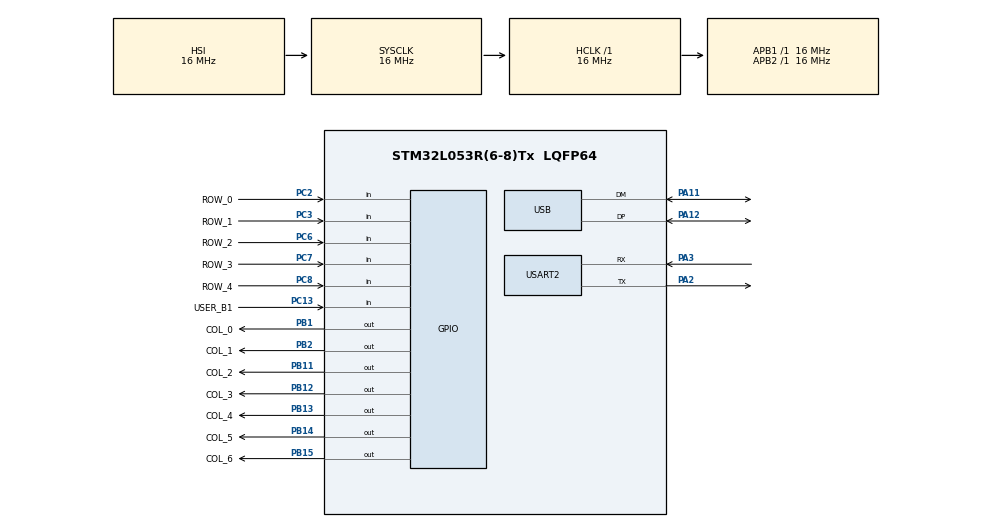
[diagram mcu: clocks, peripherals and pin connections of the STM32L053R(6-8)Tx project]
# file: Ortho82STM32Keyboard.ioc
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Mcu.Family=STM32L0
Mcu.Name=STM32L053R(6-8)Tx
Mcu.Package=LQFP64
NVIC.USB_IRQn=true\:0\:0\:false\:false\:true\:false\:true\:true
PA11.Mode=Device
PA11.Signal=USB_DM
PA12.Mode=Device
PA12.Signal=USB_DP
PA2.Mode=Asynchronous
PA2.Signal=USART2_TX
PA3.Mode=Asynchronous
PA3.Signal=USART2_RX
PB1.GPIO_Label=COL_0
PB1.GPIO_ModeDefaultOutputPP=GPIO_MODE_OUTPUT_PP
PB1.GPIO_PuPd=GPIO_PULLUP
PB1.GPIO_Speed=GPIO_SPEED_FREQ_MEDIUM
PB1.PinState=GPIO_PIN_SET
PB1.Signal=GPIO_Output
PB11.GPIO_Label=COL_2
PB11.GPIO_ModeDefaultOutputPP=GPIO_MODE_OUTPUT_PP
PB11.GPIO_PuPd=GPIO_PULLUP
PB11.GPIO_Speed=GPIO_SPEED_FREQ_MEDIUM
PB11.PinState=GPIO_PIN_SET
PB11.Signal=GPIO_Output
PB12.GPIO_Label=COL_3
PB12.GPIO_ModeDefaultOutputPP=GPIO_MODE_OUTPUT_PP
PB12.GPIO_PuPd=GPIO_PULLUP
PB12.GPIO_Speed=GPIO_SPEED_FREQ_MEDIUM
PB12.PinState=GPIO_PIN_SET
PB12.Signal=GPIO_Output
PB13.GPIO_Label=COL_4
PB13.GPIO_ModeDefaultOutputPP=GPIO_MODE_OUTPUT_PP
PB13.GPIO_PuPd=GPIO_PULLUP
PB13.GPIO_Speed=GPIO_SPEED_FREQ_MEDIUM
PB13.PinState=GPIO_PIN_SET
PB13.Signal=GPIO_Output
PB14.GPIO_Label=COL_5
PB14.GPIO_ModeDefaultOutputPP=GPIO_MODE_OUTPUT_PP
PB14.GPIO_PuPd=GPIO_PULLUP
PB14.GPIO_Speed=GPIO_SPEED_FREQ_MEDIUM
PB14.PinState=GPIO_PIN_SET
PB14.Signal=GPIO_Output
PB15.GPIO_Label=COL_6
PB15.GPIO_ModeDefaultOutputPP=GPIO_MODE_OUTPUT_PP
PB15.GPIO_PuPd=GPIO_PULLUP
PB15.GPIO_Speed=GPIO_SPEED_FREQ_MEDIUM
PB15.PinState=GPIO_PIN_SET
PB15.Signal=GPIO_Output
PB2.GPIO_Label=COL_1
PB2.GPIO_ModeDefaultOutputPP=GPIO_MODE_OUTPUT_PP
PB2.GPIO_PuPd=GPIO_PULLUP
PB2.GPIO_Speed=GPIO_SPEED_FREQ_MEDIUM
PB2.PinState=GPIO_PIN_SET
PB2.Signal=GPIO_Output
PC13.GPIO_Label=USER_B1
PC13.GPIO_PuPd=GPIO_PULLDOWN
PC13.Signal=GPIO_Input
PC2.GPIO_Label=ROW_0
PC2.GPIO_Mode=GPIO_MODE_INPUT
PC2.GPIO_PuPd=GPIO_PULLDOWN
PC2.Signal=GPIO_Input
PC3.GPIO_Label=ROW_1
PC3.GPIO_Mode=GPIO_MODE_INPUT
PC3.GPIO_PuPd=GPIO_PULLDOWN
PC3.Signal=GPIO_Input
PC6.GPIO_Label=ROW_2
PC6.GPIO_Mode=GPIO_MODE_INPUT
PC6.GPIO_PuPd=GPIO_PULLDOWN
PC6.Signal=GPIO_Input
PC7.GPIO_Label=ROW_3
PC7.GPIO_Mode=GPIO_MODE_INPUT
PC7.GPIO_PuPd=GPIO_PULLDOWN
PC7.Signal=GPIO_Input
PC8.GPIO_Label=ROW_4
PC8.GPIO_Mode=GPIO_MODE_INPUT
PC8.GPIO_PuPd=GPIO_PULLDOWN
PC8.Signal=GPIO_Input
ProjectManager.HeapSize=0x200
ProjectManager.StackSize=0x400
ProjectManager.TargetToolchain=STM32CubeIDE
RCC.AHBFreq_Value=16000000
RCC.APB1Freq_Value=16000000
RCC.APB1TimFreq_Value=16000000
RCC.APB2Freq_Value=16000000
RCC.APB2TimFreq_Value=16000000
RCC.HCLKFreq_Value=16000000
RCC.HSE_VALUE=8000000
RCC.HSI16_VALUE=16000000
RCC.HSI48MClockSelection=RCC_USBCLKSOURCE_HSI48
RCC.HSI48_VALUE=48000000
RCC.HSI_VALUE=16000000
RCC.LSE_VALUE=32768
RCC.MSI_VALUE=2097000
RCC.SYSCLKFreq_VALUE=16000000
RCC.SYSCLKSource=RCC_SYSCLKSOURCE_HSI
RCC.VCOOutputFreq_Value=48000000
USART2.VirtualMode-Asynchronous=VM_ASYNC
USB_DEVICE.CLASS_NAME_FS=CUSTOM_HID
USB_DEVICE.CONFIGURATION_STRING_CUSTOMHID_FS=Custom Mechanical Keyboard
USB_DEVICE.CUSTOM_HID_FS_BINTERVAL=0x0A
USB_DEVICE.INTERFACE_STRING_CUSTOMHID_FS=USB Keyboard
USB_DEVICE.PID_CUSTOMHID_FS=22352
USB_DEVICE.PRODUCT_STRING_CUSTOMHID_FS=Ortho82 Keyboard
USB_DEVICE.USBD_CUSTOMHID_OUTREPORT_BUF_SIZE=8
USB_DEVICE.USBD_CUSTOM_HID_REPORT_DESC_SIZE=63
USB_DEVICE.VirtualMode=CustomHid
USB_DEVICE.VirtualModeFS=Custom_Hid_FS
VP_USB_DEVICE_VS_USB_DEVICE_CUSTOM_HID_FS.Mode=CUSTOM_HID_FS
board=custom

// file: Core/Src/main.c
/* USER CODE BEGIN Header */
/**
  ******************************************************************************
  * @file           : main.c
  * @brief          : Main program body
  ******************************************************************************
  * @attention
  *
  * Copyright (c) 2023 STMicroelectronics.
  * All rights reserved.
  *
  * This software is licensed under terms that can be found in the LICENSE file
  * in the root directory of this software component.
  * If no LICENSE file comes with this software, it is provided AS-IS.
  *
  ******************************************************************************
  */
/* USER CODE END Header */
#include "main.h"
#include "usb_device.h"

/* USER CODE BEGIN Includes */
#include "usbd_custom_hid_if.h"
#include "hid_keyboard.h"
/* USER CODE END Includes */

/* USER CODE BEGIN PD */
#define COL_GPIO_PORT	GPIOC
/* USER CODE END PD */

UART_HandleTypeDef huart2;

void SystemClock_Config(void);
static void MX_GPIO_Init(void);
static void MX_USART2_UART_Init(void);
/* USER CODE BEGIN PFP */
int __io_putchar(int ch)
{
	HAL_UART_Transmit(&huart2, (uint8_t *)&ch, 1, HAL_MAX_DELAY);
	return ch;
}
/* USER CODE END PFP */

/* USER CODE BEGIN 0 */
extern USBD_HandleTypeDef hUsbDeviceFS;
uint8_t HID_report[USBD_CUSTOMHID_OUTREPORT_BUF_SIZE] = {0};
/* USER CODE END 0 */

int main(void)
{

  /* MCU Configuration--------------------------------------------------------*/

  /* Reset of all peripherals, Initializes the Flash interface and the Systick. */
  HAL_Init();

  /* Configure the system clock */
  SystemClock_Config();

  /* Initialize all configured peripherals */
  MX_GPIO_Init();
  MX_USB_DEVICE_Init();
  MX_USART2_UART_Init();
  /* USER CODE BEGIN 2 */

  printf("STM32 Cube is Great!");
  uint_fast8_t state = 0;
  uint_fast8_t rows[5] = {0,0,0,0,0};
  uint8_t modifier=0, key=0;
  /* USER CODE END 2 */

  /* Infinite loop */
  while (1)
  {

    /* USER CODE BEGIN 3 */
	  // 0b0111_1100_0000_0110
	  COL_GPIO_PORT->BSRR = 0b0111110000000110;
	  HAL_Delay(40);
	  if (!HAL_GPIO_ReadPin(USER_B1_GPIO_Port, USER_B1_Pin)) {
		  state += 1;
	  }
	  if (state > 2) {
		  printf("Working!\n");
		  state = 0;
	  }
	  // 0b0000_0001_1100_1100
	  // GPIOC->IDR & 0b0000000111001100;
	  if (HAL_GPIO_ReadPin(ROW_0_GPIO_Port, ROW_0_Pin)) {
		  rows[0] += 1;
		  modifier = MOD_LEFT_ALT;
	  }
	  if (HAL_GPIO_ReadPin(ROW_0_GPIO_Port, ROW_1_Pin)) {
		  rows[1] += 1;
		  modifier = MOD_LEFT_SHIFT;
	  }
	  if (HAL_GPIO_ReadPin(ROW_0_GPIO_Port, ROW_2_Pin)) {
		  rows[2] += 1;
		  modifier = MOD_LEFT_CTRL;
	  }
	  if (HAL_GPIO_ReadPin(ROW_0_GPIO_Port, ROW_3_Pin)) {
		  rows[3] += 1;
		  modifier = MOD_LEFT_GUI;
	  }
	  if (HAL_GPIO_ReadPin(ROW_0_GPIO_Port, ROW_4_Pin)) {
		  rows[4] += 1;
		  modifier = MOD_LEFT_GUI;
		  key = K_E;
	  }
	  if ((GPIOC->IDR & 0b0000000111001100) == 0) {
		  modifier = 0;
		  key = 0;
	  }

//	  for (int i = 0; i < 5; ++i) {
//		  if (rows[i] > 2) {
//			printf("Row: %d\n", i);
//			rows[i] = 0;
//		}
//	  }

	  if (modifier || key) {
		  HID_report[0] = modifier;
		  HID_report[2] = key;
		  USBD_CUSTOM_HID_SendReport(&hUsbDeviceFS, HID_report, USBD_CUSTOMHID_OUTREPORT_BUF_SIZE);
		  HAL_Delay(20);
	  } else {
		  for (uint8_t i = 0; i < 8; ++i) {
			  HID_report[i] = 0;
		  }
		  USBD_CUSTOM_HID_SendReport(&hUsbDeviceFS, HID_report, USBD_CUSTOMHID_OUTREPORT_BUF_SIZE);
	  }

  }
  /* USER CODE END 3 */
}

void SystemClock_Config(void)
{
  RCC_OscInitTypeDef RCC_OscInitStruct = {0};
  RCC_ClkInitTypeDef RCC_ClkInitStruct = {0};
  RCC_PeriphCLKInitTypeDef PeriphClkInit = {0};

  /** Configure the main internal regulator output voltage
  */
  __HAL_PWR_VOLTAGESCALING_CONFIG(PWR_REGULATOR_VOLTAGE_SCALE1);

  /** Initializes the RCC Oscillators according to the specified parameters
  * in the RCC_OscInitTypeDef structure.
  */
  RCC_OscInitStruct.OscillatorType = RCC_OSCILLATORTYPE_HSI|RCC_OSCILLATORTYPE_HSI48;
  RCC_OscInitStruct.HSIState = RCC_HSI_ON;
  RCC_OscInitStruct.HSICalibrationValue = RCC_HSICALIBRATION_DEFAULT;
  RCC_OscInitStruct.HSI48State = RCC_HSI48_ON;
  RCC_OscInitStruct.PLL.PLLState = RCC_PLL_NONE;
  if (HAL_RCC_OscConfig(&RCC_OscInitStruct) != HAL_OK)
  {
    Error_Handler();
  }

  /** Initializes the CPU, AHB and APB buses clocks
  */
  RCC_ClkInitStruct.ClockType = RCC_CLOCKTYPE_HCLK|RCC_CLOCKTYPE_SYSCLK
                              |RCC_CLOCKTYPE_PCLK1|RCC_CLOCKTYPE_PCLK2;
  RCC_ClkInitStruct.SYSCLKSource = RCC_SYSCLKSOURCE_HSI;
  RCC_ClkInitStruct.AHBCLKDivider = RCC_SYSCLK_DIV1;
  RCC_ClkInitStruct.APB1CLKDivider = RCC_HCLK_DIV1;
  RCC_ClkInitStruct.APB2CLKDivider = RCC_HCLK_DIV1;

  if (HAL_RCC_ClockConfig(&RCC_ClkInitStruct, FLASH_LATENCY_0) != HAL_OK)
  {
    Error_Handler();
  }
  PeriphClkInit.PeriphClockSelection = RCC_PERIPHCLK_USART2|RCC_PERIPHCLK_USB;
  PeriphClkInit.Usart2ClockSelection = RCC_USART2CLKSOURCE_PCLK1;
  PeriphClkInit.UsbClockSelection = RCC_USBCLKSOURCE_HSI48;
  if (HAL_RCCEx_PeriphCLKConfig(&PeriphClkInit) != HAL_OK)
  {
    Error_Handler();
  }
}

static void MX_USART2_UART_Init(void)
{

  huart2.Instance = USART2;
  huart2.Init.BaudRate = 115200;
  huart2.Init.WordLength = UART_WORDLENGTH_8B;
  huart2.Init.StopBits = UART_STOPBITS_1;
  huart2.Init.Parity = UART_PARITY_NONE;
  huart2.Init.Mode = UART_MODE_TX_RX;
  huart2.Init.HwFlowCtl = UART_HWCONTROL_NONE;
  huart2.Init.OverSampling = UART_OVERSAMPLING_16;
  huart2.Init.OneBitSampling = UART_ONE_BIT_SAMPLE_DISABLE;
  huart2.AdvancedInit.AdvFeatureInit = UART_ADVFEATURE_NO_INIT;
  if (HAL_UART_Init(&huart2) != HAL_OK)
  {
    Error_Handler();
  }

}

static void MX_GPIO_Init(void)
{
  GPIO_InitTypeDef GPIO_InitStruct = {0};

  /* GPIO Ports Clock Enable */
  __HAL_RCC_GPIOC_CLK_ENABLE();
  __HAL_RCC_GPIOA_CLK_ENABLE();
  __HAL_RCC_GPIOB_CLK_ENABLE();

  /*Configure GPIO pin Output Level */
  HAL_GPIO_WritePin(GPIOB, COL_0_Pin|COL_1_Pin|COL_2_Pin|COL_3_Pin
                          |COL_4_Pin|COL_5_Pin|COL_6_Pin, GPIO_PIN_SET);

  /*Configure GPIO pins : USER_B1_Pin ROW_0_Pin ROW_1_Pin ROW_2_Pin
                           ROW_3_Pin ROW_4_Pin */
  GPIO_InitStruct.Pin = USER_B1_Pin|ROW_0_Pin|ROW_1_Pin|ROW_2_Pin
                          |ROW_3_Pin|ROW_4_Pin;
  GPIO_InitStruct.Mode = GPIO_MODE_INPUT;
  GPIO_InitStruct.Pull = GPIO_PULLDOWN;
  HAL_GPIO_Init(GPIOC, &GPIO_InitStruct);

  /*Configure GPIO pins : COL_0_Pin COL_1_Pin COL_2_Pin COL_3_Pin
                           COL_4_Pin COL_5_Pin COL_6_Pin */
  GPIO_InitStruct.Pin = COL_0_Pin|COL_1_Pin|COL_2_Pin|COL_3_Pin
                          |COL_4_Pin|COL_5_Pin|COL_6_Pin;
  GPIO_InitStruct.Mode = GPIO_MODE_OUTPUT_PP;
  GPIO_InitStruct.Pull = GPIO_PULLUP;
  GPIO_InitStruct.Speed = GPIO_SPEED_FREQ_MEDIUM;
  HAL_GPIO_Init(GPIOB, &GPIO_InitStruct);

}

void Error_Handler(void)
{
  __disable_irq();
  while (1)
  {
  }
}
